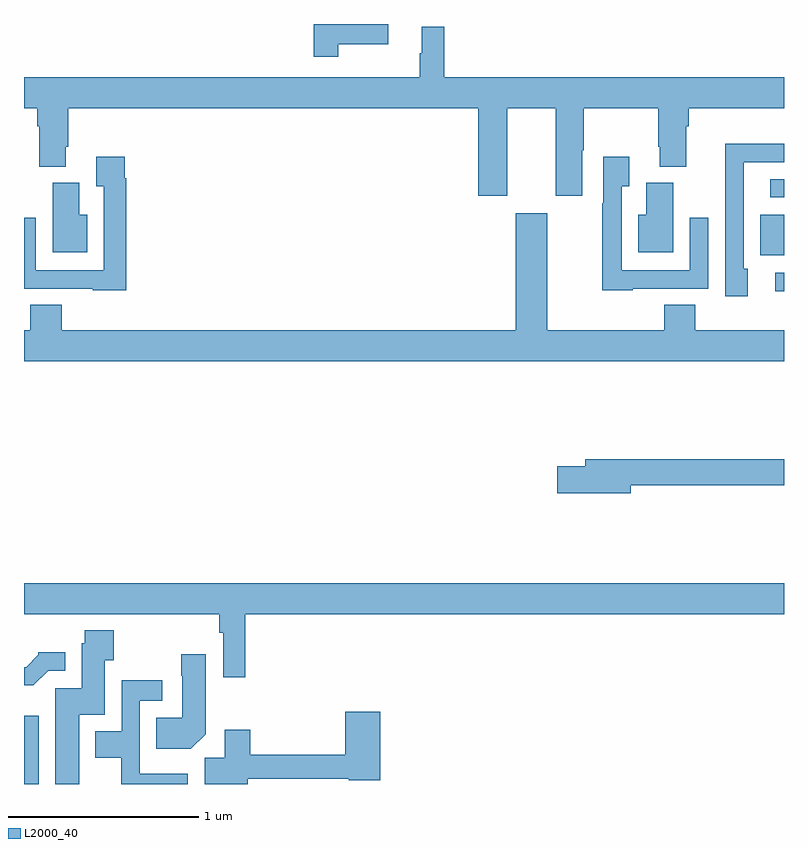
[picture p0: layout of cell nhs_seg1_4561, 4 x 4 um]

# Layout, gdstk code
import gdstk
lib = gdstk.Library(unit=1e-6, precision=1e-09)
def R(c, l, rs):  # rectangles x0, y0, x1, y1
    for r in rs: c.add(gdstk.rectangle(r[:2], r[2:], *l))
def P(c, l, *ps):  # polygons
    for p in ps: c.add(gdstk.Polygon(p, *l))
L2000_40 = (2000, 40)

nhs_seg1_4561 = lib.new_cell('nhs_seg1_4561')
R(nhs_seg1_4561, L2000_40, [(359,524.199,359.077,524.557), (362.955,526.793,363,526.89), (362.876,526.983,363,527.194), (362.928,527.286,363,527.382)])
P(nhs_seg1_4561, L2000_40, [(360.655,528.092),(360.916,528.092),(360.916,528.199),(360.526,528.199),(360.526,528.027),(360.655,528.027)],
  [(361.543,527.756),(361.799,527.756),(361.799,527.295),(361.939,527.295),(361.939,527.534),(361.947,527.534),(361.947,527.756),(362.338,527.756),(362.338,527.554),(362.345,527.554),(362.345,527.449),(362.485,527.449),(362.485,527.66),(362.498,527.66),(362.498,527.756),(363,527.756),(363,527.92),(361.211,527.92),(361.211,528.184),(361.094,528.184),(361.094,528.044),(361.083,528.044),(361.083,527.92),(359,527.92),(359,527.756),(359.069,527.756),(359.069,527.66),(359.081,527.66),(359.081,527.449),(359.221,527.449),(359.221,527.554),(359.234,527.554),(359.234,527.756),(361.391,527.756),(361.391,527.295),(361.543,527.295)],
  [(362.809,526.911),(362.787,526.911),(362.787,527.472),(363,527.472),(363,527.57),(362.69,527.57),(362.69,527.266),(362.691,527.266),(362.691,526.767),(362.809,526.767)],
  [(359.537,527.387),(359.53,527.387),(359.53,527.5),(359.381,527.5),(359.381,527.344),(359.421,527.344),(359.421,526.902),(359.061,526.902),(359.061,527.179),(359,527.179),(359,526.806),(359.361,526.806),(359.361,526.799),(359.537,526.799)],
  [(362.205,526.806),(362.601,526.806),(362.601,527.179),(362.505,527.179),(362.505,526.902),(362.145,526.902),(362.145,527.344),(362.185,527.344),(362.185,527.5),(362.049,527.5),(362.049,527.255),(362.044,527.255),(362.044,526.799),(362.205,526.799)],
  [(359.332,527.194),(359.29,527.194),(359.29,527.364),(359.15,527.364),(359.15,526.997),(359.332,526.997)],
  [(362.416,527.364),(362.276,527.364),(362.276,527.194),(362.234,527.194),(362.234,526.997),(362.416,526.997)],
  [(363,526.588),(362.534,526.588),(362.534,526.721),(362.369,526.721),(362.369,526.588),(361.753,526.588),(361.753,527.203),(361.589,527.203),(361.589,526.588),(359.198,526.588),(359.198,526.721),(359.033,526.721),(359.033,526.588),(359,526.588),(359,526.424),(363,526.424)],
  [(362.194,525.772),(363,525.772),(363,525.908),(361.955,525.908),(361.955,525.872),(361.806,525.872),(361.806,525.73),(362.194,525.73)],
  [(360.164,525.092),(363,525.092),(363,525.256),(359,525.256),(359,525.092),(360.028,525.092),(360.028,524.996),(360.048,524.996),(360.048,524.76),(360.164,524.76)],
  [(359.29,524.564),(359.425,524.564),(359.425,524.851),(359.472,524.851),(359.472,525.007),(359.32,525.007),(359.32,524.94),(359.303,524.94),(359.303,524.703),(359.165,524.703),(359.165,524.199),(359.29,524.199)],
  [(359.127,524.796),(359.218,524.796),(359.218,524.893),(359.076,524.893),(359.076,524.878),(359.012,524.814),(359,524.814),(359,524.718),(359.049,524.718)],
  [(359.956,524.462),(359.956,524.881),(359.827,524.881),(359.827,524.768),(359.834,524.768),(359.834,524.548),(359.695,524.548),(359.695,524.384),(359.878,524.384)],
  [(359.863,524.254),(359.61,524.254),(359.61,524.637),(359.728,524.637),(359.728,524.746),(359.514,524.746),(359.514,524.476),(359.375,524.476),(359.375,524.336),(359.512,524.336),(359.512,524.199),(359.863,524.199)],
  [(360.178,524.226),(360.708,524.226),(360.708,524.218),(360.875,524.218),(360.875,524.578),(360.692,524.578),(360.692,524.354),(360.191,524.354),(360.191,524.485),(360.056,524.485),(360.056,524.336),(359.951,524.336),(359.951,524.199),(360.178,524.199)])

lib.write_gds('nhs_seg1_4561.gds')
